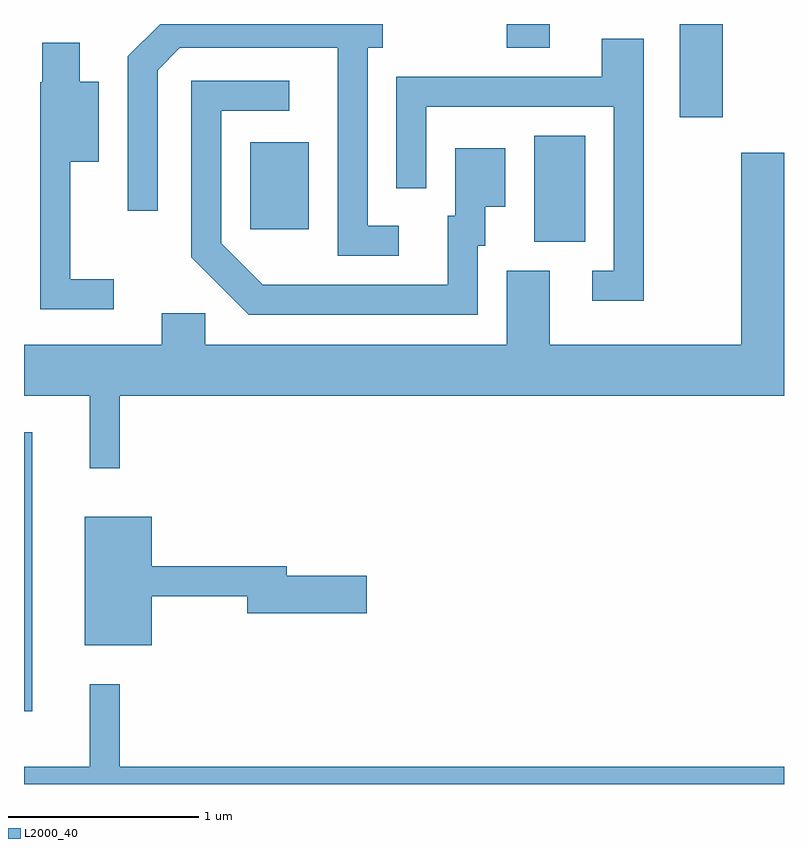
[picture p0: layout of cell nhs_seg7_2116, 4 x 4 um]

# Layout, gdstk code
import gdstk
lib = gdstk.Library(unit=1e-6, precision=1e-09)
def R(c, l, rs):  # rectangles x0, y0, x1, y1
    for r in rs: c.add(gdstk.rectangle(r[:2], r[2:], *l))
def P(c, l, *ps):  # polygons
    for p in ps: c.add(gdstk.Polygon(p, *l))
L2000_40 = (2000, 40)

nhs_seg7_2116 = lib.new_cell('nhs_seg7_2116')
R(nhs_seg7_2116, L2000_40, [(249.611,1732.636,249.654,1734.103), (252.296,1735.106,252.564,1735.664), (250.801,1735.171,251.109,1735.629), (253.061,1735.761,253.289,1736.252), (252.151,1736.126,252.379,1736.252)])
P(nhs_seg7_2116, L2000_40, [(251.583,1735.189),(251.419,1735.189),(251.419,1736.126),(251.498,1736.126),(251.498,1736.252),(250.327,1736.252),(250.156,1736.082),(250.156,1735.268),(250.314,1735.268),(250.314,1736.009),(250.432,1736.126),(251.261,1736.126),(251.261,1735.031),(251.583,1735.031)],
  [(252.874,1736.174),(252.651,1736.174),(252.651,1735.974),(251.571,1735.974),(251.571,1735.388),(251.729,1735.388),(251.729,1735.816),(252.716,1735.816),(252.716,1734.954),(252.603,1734.954),(252.603,1734.796),(252.874,1734.796)],
  [(250.083,1734.909),(249.854,1734.909),(249.854,1735.526),(250.004,1735.526),(250.004,1735.949),(249.904,1735.949),(249.904,1736.154),(249.706,1736.154),(249.706,1735.945),(249.696,1735.945),(249.696,1734.751),(250.083,1734.751)],
  [(251.999,1735.086),(252.039,1735.086),(252.039,1735.291),(252.144,1735.291),(252.144,1735.599),(251.881,1735.599),(251.881,1735.244),(251.841,1735.244),(251.841,1734.879),(250.867,1734.879),(250.649,1735.097),(250.649,1735.796),(251.008,1735.796),(251.008,1735.954),(250.491,1735.954),(250.491,1735.024),(250.794,1734.721),(251.999,1734.721)],
  [(250.114,1734.296),(253.611,1734.296),(253.611,1735.574),(253.386,1735.574),(253.386,1734.564),(252.379,1734.564),(252.379,1734.954),(252.151,1734.954),(252.151,1734.564),(250.564,1734.564),(250.564,1734.729),(250.336,1734.729),(250.336,1734.564),(249.611,1734.564),(249.611,1734.296),(249.956,1734.296),(249.956,1733.913),(250.114,1733.913)],
  [(250.284,1733.241),(250.786,1733.241),(250.786,1733.151),(251.414,1733.151),(251.414,1733.349),(250.994,1733.349),(250.994,1733.399),(250.284,1733.399),(250.284,1733.659),(249.931,1733.659),(249.931,1732.981),(250.284,1732.981)],
  [(253.611,1732.344),(250.114,1732.344),(250.114,1732.778),(249.956,1732.778),(249.956,1732.344),(249.611,1732.344),(249.611,1732.252),(253.611,1732.252)])

lib.write_gds('nhs_seg7_2116.gds')
